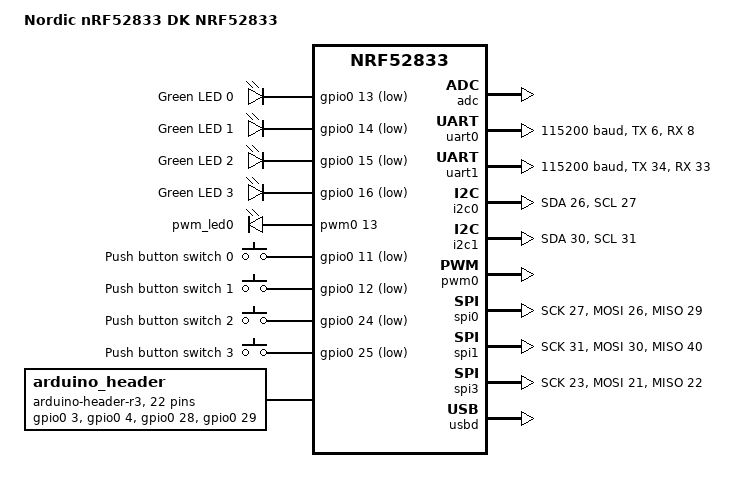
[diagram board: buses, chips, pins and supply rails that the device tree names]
/*
 * Copyright (c) 2019 Nordic Semiconductor ASA
 *
 * SPDX-License-Identifier: Apache-2.0
 */

/dts-v1/;
#include <nordic/nrf52833_qiaa.dtsi>

/ {
	model = "Nordic nRF52833 DK NRF52833";
	compatible = "nordic,nrf52833-dk-nrf52833";

	chosen {
		zephyr,console = &uart0;
		zephyr,shell-uart = &uart0;
		zephyr,uart-mcumgr = &uart0;
		zephyr,bt-mon-uart = &uart0;
		zephyr,bt-c2h-uart = &uart0;
		zephyr,sram = &sram0;
		zephyr,flash = &flash0;
		zephyr,code-partition = &slot0_partition;
	};

	leds {
		compatible = "gpio-leds";
		led0: led_0 {
			gpios = <&gpio0 13 GPIO_ACTIVE_LOW>;
			label = "Green LED 0";
		};
		led1: led_1 {
			gpios = <&gpio0 14 GPIO_ACTIVE_LOW>;
			label = "Green LED 1";
		};
		led2: led_2 {
			gpios = <&gpio0 15 GPIO_ACTIVE_LOW>;
			label = "Green LED 2";
		};
		led3: led_3 {
			gpios = <&gpio0 16 GPIO_ACTIVE_LOW>;
			label = "Green LED 3";
		};
	};

	pwmleds {
		compatible = "pwm-leds";
		pwm_led0: pwm_led_0 {
			pwms = <&pwm0 13>;
		};
	};

	buttons {
		compatible = "gpio-keys";
		button0: button_0 {
			gpios = <&gpio0 11 (GPIO_PULL_UP | GPIO_ACTIVE_LOW)>;
			label = "Push button switch 0";
		};
		button1: button_1 {
			gpios = <&gpio0 12 (GPIO_PULL_UP | GPIO_ACTIVE_LOW)>;
			label = "Push button switch 1";
		};
		button2: button_2 {
			gpios = <&gpio0 24 (GPIO_PULL_UP | GPIO_ACTIVE_LOW)>;
			label = "Push button switch 2";
		};
		button3: button_3 {
			gpios = <&gpio0 25 (GPIO_PULL_UP | GPIO_ACTIVE_LOW)>;
			label = "Push button switch 3";
		};
	};

	arduino_header: connector {
		compatible = "arduino-header-r3";
		#gpio-cells = <2>;
		gpio-map-mask = <0xffffffff 0xffffffc0>;
		gpio-map-pass-thru = <0 0x3f>;
		gpio-map = <0 0 &gpio0 3 0>,	/* A0 */
			   <1 0 &gpio0 4 0>,	/* A1 */
			   <2 0 &gpio0 28 0>,	/* A2 */
			   <3 0 &gpio0 29 0>,	/* A3 */
			   <4 0 &gpio0 30 0>,	/* A4 */
			   <5 0 &gpio0 31 0>,	/* A5 */
			   <6 0 &gpio1 1 0>,	/* D0 */
			   <7 0 &gpio1 2 0>,	/* D1 */
			   <8 0 &gpio1 3 0>,	/* D2 */
			   <9 0 &gpio1 4 0>,	/* D3 */
			   <10 0 &gpio1 5 0>,	/* D4 */
			   <11 0 &gpio1 6 0>,	/* D5 */
			   <12 0 &gpio1 7 0>,	/* D6 */
			   <13 0 &gpio1 8 0>,	/* D7 */
			   <14 0 &gpio0 17 0>,	/* D8 */
			   <15 0 &gpio0 19 0>,	/* D9 */
			   <16 0 &gpio0 20 0>,	/* D10 */
			   <17 0 &gpio0 21 0>,	/* D11 */
			   <18 0 &gpio0 22 0>,	/* D12 */
			   <19 0 &gpio0 23 0>,	/* D13 */
			   <20 0 &gpio0 26 0>,	/* D14 */
			   <21 0 &gpio0 27 0>;	/* D15 */
	};

	/* These aliases are provided for compatibility with samples */
	aliases {
		led0 = &led0;
		led1 = &led1;
		led2 = &led2;
		led3 = &led3;
		pwm-led0 = &pwm_led0;
		sw0 = &button0;
		sw1 = &button1;
		sw2 = &button2;
		sw3 = &button3;
		bootloader-led0 = &led0;
		usbd0 = &usbd;
	};
};

&adc {
	status = "okay";
};

&gpiote {
	status = "okay";
};

&gpio0 {
	status = "okay";
};

&gpio1 {
	status = "okay";
};

&uart0 {
	compatible = "nordic,nrf-uarte";
	status = "okay";
	current-speed = <115200>;
	tx-pin = <6>;
	rx-pin = <8>;
	rts-pin = <5>;
	cts-pin = <7>;
};

arduino_serial: &uart1 {
	status = "okay";
	current-speed = <115200>;
	rx-pin = <33>;
	tx-pin = <34>;
};

arduino_i2c: &i2c0 {
	compatible = "nordic,nrf-twi";
	status = "okay";
	sda-pin = <26>;
	scl-pin = <27>;
};

&i2c1 {
	compatible = "nordic,nrf-twi";
	/* Cannot be used together with spi1. */
	/* status = "okay"; */
	sda-pin = <30>;
	scl-pin = <31>;
};

&pwm0 {
	status = "okay";
	ch0-pin = <13>;
	ch0-inverted;
};

&spi0 {
	compatible = "nordic,nrf-spi";
	/* Cannot be used together with i2c0. */
	/* status = "okay"; */
	sck-pin = <27>;
	mosi-pin = <26>;
	miso-pin = <29>;
};

&spi1 {
	compatible = "nordic,nrf-spi";
	status = "okay";
	sck-pin = <31>;
	mosi-pin = <30>;
	miso-pin = <40>;
};

arduino_spi: &spi3 {
	status = "okay";
	sck-pin = <23>;
	miso-pin = <22>;
	mosi-pin = <21>;
	cs-gpios = <&arduino_header 16 GPIO_ACTIVE_LOW>; /* D10 */
};

&flash0 {

	partitions {
		compatible = "fixed-partitions";
		#address-cells = <1>;
		#size-cells = <1>;

		boot_partition: partition@0 {
			label = "mcuboot";
			reg = <0x000000000 0xC000>;
		};
		slot0_partition: partition@c000 {
			label = "image-0";
			reg = <0x0000C000 0x32000>;
		};
		slot1_partition: partition@3e000 {
			label = "image-1";
			reg = <0x0003E000 0x32000>;
		};
		scratch_partition: partition@70000 {
			label = "image-scratch";
			reg = <0x00070000 0xA000>;
		};
		storage_partition: partition@7a000 {
			label = "storage";
			reg = <0x0007A000 0x00006000>;
		};
	};
};

&usbd {
	compatible = "nordic,nrf-usbd";
	status = "okay";
};
